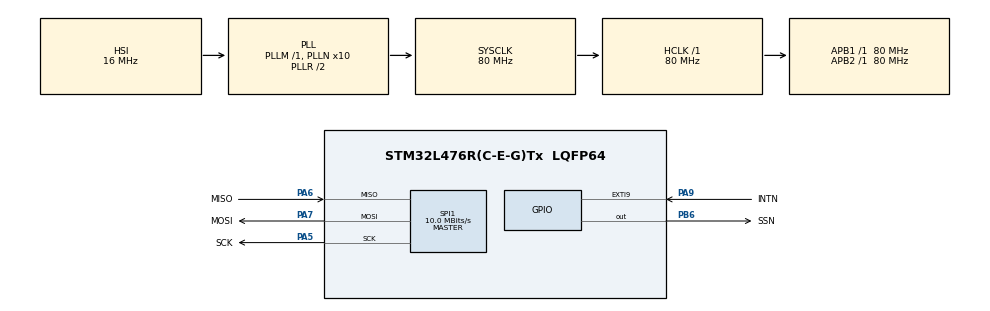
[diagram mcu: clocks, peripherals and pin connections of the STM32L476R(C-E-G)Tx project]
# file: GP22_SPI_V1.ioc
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Mcu.Family=STM32L4
Mcu.Name=STM32L476R(C-E-G)Tx
Mcu.Package=LQFP64
NVIC.EXTI9_5_IRQn=true\:0\:0\:false\:false\:true\:true\:true\:true
NVIC.PriorityGroup=NVIC_PRIORITYGROUP_4
PA13\ (JTMS-SWDIO).GPIO_Label=TMS
PA13\ (JTMS-SWDIO).Mode=Serial_Wire
PA13\ (JTMS-SWDIO).Signal=SYS_JTMS-SWDIO
PA14\ (JTCK-SWCLK).GPIO_Label=TCK
PA14\ (JTCK-SWCLK).Mode=Serial_Wire
PA14\ (JTCK-SWCLK).Signal=SYS_JTCK-SWCLK
PA5.GPIO_Label=SCK
PA5.GPIO_PuPd=GPIO_PULLDOWN
PA5.GPIO_Speed=GPIO_SPEED_FREQ_HIGH
PA5.Mode=Full_Duplex_Master
PA5.Signal=SPI1_SCK
PA6.GPIO_Label=MISO
PA6.GPIO_PuPd=GPIO_PULLDOWN
PA6.GPIO_Speed=GPIO_SPEED_FREQ_HIGH
PA6.Mode=Full_Duplex_Master
PA6.Signal=SPI1_MISO
PA7.GPIO_Label=MOSI
PA7.GPIO_PuPd=GPIO_PULLDOWN
PA7.GPIO_Speed=GPIO_SPEED_FREQ_HIGH
PA7.Mode=Full_Duplex_Master
PA7.Signal=SPI1_MOSI
PA9.GPIO_Label=INTN
PA9.GPIO_ModeDefaultEXTI=GPIO_MODE_IT_RISING_FALLING
PA9.GPIO_PuPd=GPIO_NOPULL
PA9.Signal=GPXTI9
PB3\ (JTDO-TRACESWO).GPIO_Label=SWO
PB3\ (JTDO-TRACESWO).Signal=SYS_JTDO-SWO
PB6.GPIO_FM6=__NULL
PB6.GPIO_Label=SSN
PB6.GPIO_PuPd=GPIO_PULLUP
PB6.GPIO_Speed=GPIO_SPEED_FREQ_HIGH
PB6.PinState=GPIO_PIN_SET
PB6.Signal=GPIO_Output
ProjectManager.HeapSize=0x200
ProjectManager.StackSize=0x400
ProjectManager.TargetToolchain=STM32CubeIDE
RCC.ADCFreq_Value=64000000
RCC.AHBFreq_Value=80000000
RCC.APB1Freq_Value=80000000
RCC.APB1TimFreq_Value=80000000
RCC.APB2Freq_Value=80000000
RCC.APB2TimFreq_Value=80000000
RCC.CortexFreq_Value=80000000
RCC.HCLKFreq_Value=80000000
RCC.HSE_VALUE=8000000
RCC.HSI_VALUE=16000000
RCC.LSE_VALUE=32768
RCC.MSI_VALUE=4000000
RCC.PLLN=10
RCC.PLLSourceVirtual=RCC_PLLSOURCE_HSI
RCC.PREFETCH_ENABLE=1
RCC.SYSCLKFreq_VALUE=80000000
RCC.SYSCLKSource=RCC_SYSCLKSOURCE_PLLCLK
RCC.USBFreq_Value=64000000
RCC.VCOOutputFreq_Value=160000000
SPI1.BaudRatePrescaler=SPI_BAUDRATEPRESCALER_8
SPI1.CLKPhase=SPI_PHASE_2EDGE
SPI1.CalculateBaudRate=10.0 MBits/s
SPI1.DataSize=SPI_DATASIZE_8BIT
SPI1.Direction=SPI_DIRECTION_2LINES
SPI1.Mode=SPI_MODE_MASTER
SPI1.TIMode=SPI_TIMODE_DISABLE
SPI1.VirtualType=VM_MASTER
board=NUCLEO-L476RG

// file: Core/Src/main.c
/* USER CODE BEGIN Header */
/**
  ******************************************************************************
  * @file           : main.c
  * @brief          : Main program body
  ******************************************************************************
  * @attention
  *
  * Copyright (c) 2022 STMicroelectronics.
  * All rights reserved.
  *
  * This software is licensed under terms that can be found in the LICENSE file
  * in the root directory of this software component.
  * If no LICENSE file comes with this software, it is provided AS-IS.
  *
  ******************************************************************************
  */
/* USER CODE END Header */
#include "main.h"

/* USER CODE BEGIN Includes */

#include "user_spi_interface.c"
#include "user_tools.c"

#include "GP22_Coding.h"

/* USER CODE END Includes */

SPI_HandleTypeDef hspi1;

/* USER CODE BEGIN PV */

 GP22_InitTypeDef DUT; // DUT = Device Under Test

 volatile uint32_t  My_INTN_Counter = 0;
 volatile uint8_t   My_INTN_State = 1;

 volatile float     CLKLS_freq = 32768;             // LS Clock frequency in Hz
 volatile float     CLKHS_freq = 4000000;           // HS Clock frequency in Hz
 volatile float     CLKHS_freq_cal = 4000000;       // Calibrated HS Clock frequency in Hz
 volatile float     CLKHS_freq_corr_fact = 1.000;   // Correction factor for HS Clock frequency

 volatile float     RAW_Result = 0;                 // RAW Value in [LSB]
 volatile float     Time_Result = 0;                // Result in [s]
 volatile float     Time_Result_ns = 0;             // Result in [ns]

 volatile float     RAW_CAL_Result = 0;             // RAW Value in [LSB]
 volatile float     Time_CAL_Result = 0;            // Result in [s]
 volatile float     Time_CAL_Result_ns = 0;         // Result in [ns]

 uint8_t   spiRX[7];                       // used for readout of ID
 volatile uint64_t  Bit_ID = 0;                     // contains individual ID[55:0] of GP22

 volatile float     MAX_Cal_Time_Delay = 0;         // Max. measured calibrated time delay in [s]
 volatile float     MAX_Cal_Time_Delay_ns = 0;      // Max. measured calibrated time delay in [ns]

 volatile int       N_Measure_Cycles;               // counter for the while loop
 volatile int       MAX_N_Measure_Cycles = 100;     // limit for the counter

 //default configuration: MR1
 uint32_t  Reg[7] = {
		 0xF3066000,
		 0x01410000,
		 0x28000000,
		 0x00000000,
		 0x00000000,
		 0x00000000,
		 0x00000000
 };

/* USER CODE END PV */

void SystemClock_Config(void);
static void MX_GPIO_Init(void);
static void MX_SPI1_Init(void);

int main(void)
{

  /* MCU Configuration--------------------------------------------------------*/

  /* Reset of all peripherals, Initializes the Flash interface and the Systick. */
  HAL_Init();

  /* Configure the system clock */
  SystemClock_Config();

  /* Initialize all configured peripherals */
  MX_GPIO_Init();
  MX_SPI1_Init();
  /* USER CODE BEGIN 2 */

  // set configuration registers

/*
  DUT.CR[0] = 0xF3076010;
  DUT.CR[1] = 0x01410032;
  DUT.CR[2] = 0xA0000054;
  DUT.CR[3] = 0x00000076;
  DUT.CR[4] = 0x10000098;
  DUT.CR[5] = 0x000000BA;
  DUT.CR[6] = 0x400000DC;

  GP22_Update_Param(&DUT);
*/

  GP22_Init_CFG(&DUT, Reg);

  // set new value in CR0 @measurement mode 1
  DUT.Param.CR0.DIV_CLKHS = 0; // Calibrated Measurement Range =  500 ns
  //DUT.Param.CR0.DIV_CLKHS = 1; // Calibrated Measurement Range = 1000 ns
  //DUT.Param.CR0.DIV_CLKHS = 2; // Calibrated Measurement Range = 2000 ns

  // update CR0 register with new parameter
  //DUT.CR[0] |= GP22_0_DIV_CLKHS_SET(DUT.Param.CR0.DIV_CLKHS);

  GP22_Update_CFG(&DUT); // Function to update CFG!

  // Rough SPI Example for TDC-GP22 @10 MHz
  // According data sheet, SPI Frequency up to 20 MHz are possible.

  Write_Opcode(POWER_ON_RESET);
  DUT.State = GP22_STATE_RESET;
  HAL_Delay(1); // Delay = 1ms              // 500 us wait for GP22

  Write_Dword_Lite(WR_CFG, 0x00, DUT.CR[0]);
  Write_Dword_Lite(WR_CFG, 0x01, DUT.CR[1]);
  Write_Dword_Lite(WR_CFG, 0x02, DUT.CR[2]);
  Write_Dword_Lite(WR_CFG, 0x03, DUT.CR[3]);
  Write_Dword_Lite(WR_CFG, 0x04, DUT.CR[4]);
  Write_Dword_Lite(WR_CFG, 0x05, DUT.CR[5]);
  Write_Dword_Lite(WR_CFG, 0x06, DUT.CR[6]);

  // Readout of individual ID
  Read_Byte_Amount_Of(RD_ID_BIT, spiRX, 7);

  int ind=0;
  for (int lshift=48; lshift >= 0; lshift = lshift - 8) {
	  Bit_ID = Bit_ID + spiRX[ind]*MyPower(lshift);
	  ind += 1;
  }

  //--------------------------------------------------------------------------
  // Start Calibrate High Speed Clock Cycle
  Write_Opcode(INITIALIZE_TDC);
  DUT.State = GP22_STATE_READY;
  Write_Opcode(START_CAL_RESONATOR);

  // Wait for INTN
  while ( (My_INTN_State==1)) { }; // endless loop as long as INTN=1, timeout is missing!

  //Calculate Correction factor
  //The time interval to be measured is set by ANZ_PER_CALRES
  //which defines the number of periods of the 32.768 kHz clock:
  //2 periods = 61.03515625 µs

  RAW_CAL_Result = Read_Dword_Lite(RD_RESULT, 0x00);
  RAW_CAL_Result /= MyPower(16);
  Time_CAL_Result = RAW_CAL_Result / CLKHS_freq * MyPower(DUT.Param.CR0.DIV_CLKHS);

  CLKHS_freq_corr_fact = 2 * (float)(1./CLKLS_freq * MyPower(DUT.Param.CR0.ANZ_PER_CALRES)) / Time_CAL_Result;
  CLKHS_freq_cal = CLKHS_freq / CLKHS_freq_corr_fact; // Calibrated Clock frequency
  MAX_Cal_Time_Delay = 2 / CLKHS_freq_cal * MyPower(DUT.Param.CR0.DIV_CLKHS);

  /* USER CODE END 2 */

  /* Infinite loop */
  while (1)
  {

    /* USER CODE BEGIN 3 */

	  N_Measure_Cycles++;

	  if (N_Measure_Cycles >= MAX_N_Measure_Cycles)
	  {
		  Write_Opcode(INITIALIZE_TDC);
		  Write_Opcode(START_CAL_RESONATOR);

		  // Wait for INTN
		  while ( (My_INTN_State==1)) { }; //timeout is missing

		  RAW_CAL_Result = Read_Dword_Lite(RD_RESULT, 0x00);
		  RAW_CAL_Result /= MyPower(16);
		  Time_CAL_Result = RAW_CAL_Result / CLKHS_freq * MyPower(DUT.Param.CR0.DIV_CLKHS);

		  CLKHS_freq_corr_fact = 2 * (float)(1./CLKLS_freq * MyPower(DUT.Param.CR0.ANZ_PER_CALRES)) / Time_CAL_Result;
		  CLKHS_freq_cal = CLKHS_freq / CLKHS_freq_corr_fact; // Calibrated Clock frequency
		  MAX_Cal_Time_Delay = 2 / CLKHS_freq_cal;
		  MAX_Cal_Time_Delay *= MyPower(DUT.Param.CR0.DIV_CLKHS);

		  MAX_Cal_Time_Delay_ns = TIME_ns(MAX_Cal_Time_Delay); // result in [ns]

		  N_Measure_Cycles = 0;

	  }

	  Write_Opcode(INITIALIZE_TDC);

	  //while (HAL_GPIO_ReadPin(INTN_GPIO_Port, INTN_Pin)==1) {} //old stuff

	  // Wait for INTN
	  // NVIC Functionality to increase the speed of MCU
	  while ( (My_INTN_State==1)) { }; //timeout is missing

	  RAW_Result = Read_Dword_Lite(RD_RESULT, 0x00);
	  RAW_Result /= MyPower(16);
	  Time_Result = RAW_Result / CLKHS_freq_cal;
	  Time_Result *= MyPower(DUT.Param.CR0.DIV_CLKHS);

	  Time_Result_ns = TIME_ns(Time_Result); // result in [ns]

  }
  /* USER CODE END 3 */
}

void SystemClock_Config(void)
{
  RCC_OscInitTypeDef RCC_OscInitStruct = {0};
  RCC_ClkInitTypeDef RCC_ClkInitStruct = {0};

  /** Configure the main internal regulator output voltage
  */
  if (HAL_PWREx_ControlVoltageScaling(PWR_REGULATOR_VOLTAGE_SCALE1) != HAL_OK)
  {
    Error_Handler();
  }

  /** Initializes the RCC Oscillators according to the specified parameters
  * in the RCC_OscInitTypeDef structure.
  */
  RCC_OscInitStruct.OscillatorType = RCC_OSCILLATORTYPE_HSI;
  RCC_OscInitStruct.HSIState = RCC_HSI_ON;
  RCC_OscInitStruct.HSICalibrationValue = RCC_HSICALIBRATION_DEFAULT;
  RCC_OscInitStruct.PLL.PLLState = RCC_PLL_ON;
  RCC_OscInitStruct.PLL.PLLSource = RCC_PLLSOURCE_HSI;
  RCC_OscInitStruct.PLL.PLLM = 1;
  RCC_OscInitStruct.PLL.PLLN = 10;
  RCC_OscInitStruct.PLL.PLLP = RCC_PLLP_DIV7;
  RCC_OscInitStruct.PLL.PLLQ = RCC_PLLQ_DIV2;
  RCC_OscInitStruct.PLL.PLLR = RCC_PLLR_DIV2;
  if (HAL_RCC_OscConfig(&RCC_OscInitStruct) != HAL_OK)
  {
    Error_Handler();
  }

  /** Initializes the CPU, AHB and APB buses clocks
  */
  RCC_ClkInitStruct.ClockType = RCC_CLOCKTYPE_HCLK|RCC_CLOCKTYPE_SYSCLK
                              |RCC_CLOCKTYPE_PCLK1|RCC_CLOCKTYPE_PCLK2;
  RCC_ClkInitStruct.SYSCLKSource = RCC_SYSCLKSOURCE_PLLCLK;
  RCC_ClkInitStruct.AHBCLKDivider = RCC_SYSCLK_DIV1;
  RCC_ClkInitStruct.APB1CLKDivider = RCC_HCLK_DIV1;
  RCC_ClkInitStruct.APB2CLKDivider = RCC_HCLK_DIV1;

  if (HAL_RCC_ClockConfig(&RCC_ClkInitStruct, FLASH_LATENCY_4) != HAL_OK)
  {
    Error_Handler();
  }
}

static void MX_SPI1_Init(void)
{

  /* SPI1 parameter configuration*/
  hspi1.Instance = SPI1;
  hspi1.Init.Mode = SPI_MODE_MASTER;
  hspi1.Init.Direction = SPI_DIRECTION_2LINES;
  hspi1.Init.DataSize = SPI_DATASIZE_8BIT;
  hspi1.Init.CLKPolarity = SPI_POLARITY_LOW;
  hspi1.Init.CLKPhase = SPI_PHASE_2EDGE;
  hspi1.Init.NSS = SPI_NSS_SOFT;
  hspi1.Init.BaudRatePrescaler = SPI_BAUDRATEPRESCALER_8;
  hspi1.Init.FirstBit = SPI_FIRSTBIT_MSB;
  hspi1.Init.TIMode = SPI_TIMODE_DISABLE;
  hspi1.Init.CRCCalculation = SPI_CRCCALCULATION_DISABLE;
  hspi1.Init.CRCPolynomial = 7;
  hspi1.Init.CRCLength = SPI_CRC_LENGTH_DATASIZE;
  hspi1.Init.NSSPMode = SPI_NSS_PULSE_DISABLE;
  if (HAL_SPI_Init(&hspi1) != HAL_OK)
  {
    Error_Handler();
  }

}

static void MX_GPIO_Init(void)
{
  GPIO_InitTypeDef GPIO_InitStruct = {0};

  /* GPIO Ports Clock Enable */
  __HAL_RCC_GPIOA_CLK_ENABLE();
  __HAL_RCC_GPIOB_CLK_ENABLE();

  /*Configure GPIO pin Output Level */
  HAL_GPIO_WritePin(SSN_GPIO_Port, SSN_Pin, GPIO_PIN_SET);

  /*Configure GPIO pin : INTN_Pin */
  GPIO_InitStruct.Pin = INTN_Pin;
  GPIO_InitStruct.Mode = GPIO_MODE_IT_RISING_FALLING;
  GPIO_InitStruct.Pull = GPIO_NOPULL;
  HAL_GPIO_Init(INTN_GPIO_Port, &GPIO_InitStruct);

  /*Configure GPIO pin : SSN_Pin */
  GPIO_InitStruct.Pin = SSN_Pin;
  GPIO_InitStruct.Mode = GPIO_MODE_OUTPUT_PP;
  GPIO_InitStruct.Pull = GPIO_PULLUP;
  GPIO_InitStruct.Speed = GPIO_SPEED_FREQ_HIGH;
  HAL_GPIO_Init(SSN_GPIO_Port, &GPIO_InitStruct);

  /* EXTI interrupt init*/
  HAL_NVIC_SetPriority(EXTI9_5_IRQn, 0, 0);
  HAL_NVIC_EnableIRQ(EXTI9_5_IRQn);

}

/* USER CODE BEGIN 4 */

void HAL_GPIO_EXTI_Callback(uint16_t GPIO_Pin)
{
	/* stm32l4xx_hal_gpio.c */

	/* Prevent unused argument(s) compilation warning */
	UNUSED(GPIO_Pin);

	// Note: It takes about 1us after INTN

	if (GPIO_Pin == INTN_Pin) {
		My_INTN_State = (HAL_GPIO_ReadPin(INTN_GPIO_Port, INTN_Pin) == GPIO_PIN_SET); /* low active */
		if (My_INTN_State == 0) {
			My_INTN_Counter += 1;
		}
	}

}

/* USER CODE END 4 */

void Error_Handler(void)
{
  __disable_irq();
  while (1)
  {
  }
}
